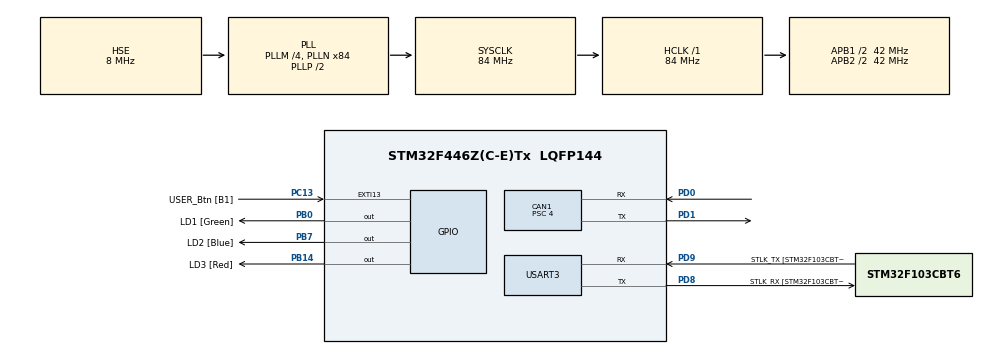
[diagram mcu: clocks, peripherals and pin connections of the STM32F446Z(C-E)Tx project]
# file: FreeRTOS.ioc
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CAN1.BS1=CAN_BS1_13TQ
CAN1.BS2=CAN_BS2_2TQ
CAN1.CalculateBaudRate=656250
CAN1.CalculateTimeBit=1523
CAN1.CalculateTimeQuantum=95.23809523809524
CAN1.NART=ENABLE
CAN1.Prescaler=4
FREERTOS.INCLUDE_pcTaskGetTaskName=1
FREERTOS.Tasks01=app0,48,128,StartApp0,Default,NULL,Dynamic,NULL,NULL;app1,9,128,StartApp1,Default,NULL,Dynamic,NULL,NULL;app2,8,128,StartApp2,Default,NULL,Dynamic,NULL,NULL
FREERTOS.configUSE_NEWLIB_REENTRANT=1
Mcu.Family=STM32F4
Mcu.Name=STM32F446Z(C-E)Tx
Mcu.Package=LQFP144
NVIC.CAN1_RX0_IRQn=true\:5\:0\:false\:false\:true\:true\:true\:true\:true
NVIC.EXTI15_10_IRQn=true\:5\:0\:false\:false\:true\:true\:true\:true\:true
NVIC.PriorityGroup=NVIC_PRIORITYGROUP_4
NVIC.TIM6_DAC_IRQn=true\:15\:0\:false\:false\:true\:false\:false\:true\:true
NVIC.TimeBase=TIM6_DAC_IRQn
NVIC.TimeBaseIP=TIM6
PB0.GPIO_Label=LD1 [Green]
PB0.Signal=GPIO_Output
PB14.GPIO_Label=LD3 [Red]
PB14.Signal=GPIO_Output
PB7.GPIO_Label=LD2 [Blue]
PB7.Signal=GPIO_Output
PC13.GPIO_Label=USER_Btn [B1]
PC13.Signal=GPXTI13
PC14-OSC32_IN.Mode=LSE-External-Oscillator
PC14-OSC32_IN.Signal=RCC_OSC32_IN
PC15-OSC32_OUT.Mode=LSE-External-Oscillator
PC15-OSC32_OUT.Signal=RCC_OSC32_OUT
PD0.Mode=CAN_Activate
PD0.Signal=CAN1_RX
PD1.Mode=CAN_Activate
PD1.Signal=CAN1_TX
PD8.GPIO_Label=STLK_RX [STM32F103CBT6_PA3]
PD8.Mode=Asynchronous
PD8.Signal=USART3_TX
PD9.GPIO_Label=STLK_TX [STM32F103CBT6_PA2]
PD9.Mode=Asynchronous
PD9.Signal=USART3_RX
PH0-OSC_IN.GPIO_Label=MCO [STM32F103CBT6_PA8]
PH0-OSC_IN.Mode=HSE-External-Clock-Source
PH0-OSC_IN.Signal=RCC_OSC_IN
PH1-OSC_OUT.Mode=HSE-External-Clock-Source
PH1-OSC_OUT.Signal=RCC_OSC_OUT
ProjectManager.HeapSize=0x200
ProjectManager.StackSize=0x400
ProjectManager.TargetToolchain=STM32CubeIDE
RCC.48MHZClocksFreq_Value=24000000
RCC.AHBFreq_Value=84000000
RCC.APB1CLKDivider=RCC_HCLK_DIV2
RCC.APB1Freq_Value=42000000
RCC.APB1TimFreq_Value=84000000
RCC.APB2CLKDivider=RCC_HCLK_DIV2
RCC.APB2Freq_Value=42000000
RCC.APB2TimFreq_Value=84000000
RCC.CortexFreq_Value=84000000
RCC.HCLKFreq_Value=84000000
RCC.HSE_VALUE=8000000
RCC.HSI_VALUE=16000000
RCC.PLLM=4
RCC.PLLMUL=RCC_PLL_MUL9
RCC.PLLN=84
RCC.PLLQ=7
RCC.PLLSourceVirtual=RCC_PLLSOURCE_HSE
RCC.PRESCALERUSB=RCC_USBCLKSOURCE_PLL_DIV1_5
RCC.SYSCLKFreq_VALUE=84000000
RCC.SYSCLKSource=RCC_SYSCLKSOURCE_PLLCLK
RCC.SYSCLKSourceVirtual=RCC_SYSCLKSOURCE_PLLCLK
RCC.USBFreq_Value=24000000
RCC.VCOOutputFreq_Value=168000000
USART3.VirtualMode=VM_ASYNC
VP_FREERTOS_VS_CMSIS_V2.Mode=CMSIS_V2
VP_SYS_VS_tim6.Mode=TIM6
board=NUCLEO-F446ZE

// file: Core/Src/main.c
/* USER CODE BEGIN Header */
/**
  ******************************************************************************
  * @file           : main.c
  * @brief          : Main program body
  ******************************************************************************
  * @attention
  *
  * Copyright (c) 2024 STMicroelectronics.
  * All rights reserved.
  *
  * This software is licensed under terms that can be found in the LICENSE file
  * in the root directory of this software component.
  * If no LICENSE file comes with this software, it is provided AS-IS.
  *
  ******************************************************************************
  */
/* USER CODE END Header */
#include "main.h"
#include "cmsis_os.h"

/* USER CODE BEGIN Includes */
#include <stdio.h>
#include "F446ZE_FLASH_Sector_Addresses.h"
#include <stdbool.h>
/* USER CODE END Includes */

/* USER CODE BEGIN PD */

#define MAJOR 0
#define MINOR 0

/* Before transmitting, make sure that there is an 'update' available in the sector defined below.
 * This update will then be sent from one F446 board to another through the CAN bus.
 * One board simulates the telemetry module (= responsible from communication with the ground station) on a CubeSat,
 * the other board simulates the on-board computer (OBC) of the CubeSat. */

#define FLASH_USER_START_ADDR_RX   ADDR_FLASH_SECTOR_6_START		/* Start @ of user Flash area */
#define FLASH_USER_END_ADDR_RX     ADDR_FLASH_SECTOR_6_END 			/* End @ of user Flash area */

#define INITIALIZATION_FLAG_ADDRESS	0x0805FFFC
#define STARTING_FLAG_VALUE			0XFFFFFFFF
#define INITIALIZATION_FLAG_VALUE 	0xBBBBBBBB
/* USER CODE END PD */

CAN_HandleTypeDef hcan1;

UART_HandleTypeDef huart3;

/* Definitions for app0 */
osThreadId_t app0Handle;
const osThreadAttr_t app0_attributes = {
  .name = "app0",
  .stack_size = 128 * 4,
  .priority = (osPriority_t) osPriorityRealtime,
};
/* Definitions for app1 */
osThreadId_t app1Handle;
const osThreadAttr_t app1_attributes = {
  .name = "app1",
  .stack_size = 128 * 4,
  .priority = (osPriority_t) osPriorityLow1,
};
/* Definitions for app2 */
osThreadId_t app2Handle;
const osThreadAttr_t app2_attributes = {
  .name = "app2",
  .stack_size = 128 * 4,
  .priority = (osPriority_t) osPriorityLow,
};
/* USER CODE BEGIN PV */

const uint8_t			APP_Version[2]={MAJOR, MINOR};

// CAN variables
CAN_RxHeaderTypeDef   	RxHeader;
CAN_TxHeaderTypeDef   	TxHeader;
uint8_t               	TxData[8];
uint8_t               	RxData[8];
uint32_t              	TxMailbox;
QueueHandle_t canRxQueue;

// Board status variables
enum board_status 	  	{NO_UPDATE_AVAILABLE, SENDING_UPDATE, RECEIVING_UPDATE, UPDATE_FINISHED};
enum board_status 	  	board_status = NO_UPDATE_AVAILABLE;

// Flash Operation variables
uint32_t FirstSector = 0, NbOfSectors = 0;
uint32_t Address = FLASH_USER_START_ADDR_RX, SECTORError = 0;
uint8_t TxBuffer;

/*Variable used for Flash Erase procedure*/
static FLASH_EraseInitTypeDef EraseInitStruct;

bool flashUpdateDone = false;
bool flashErased = false;  // Add this line to declare the flashErased variable
bool updateComplete = false;
bool taskCreated = false;
bool flag1 = false;

/* USER CODE END PV */

void SystemClock_Config(void);
static void MX_GPIO_Init(void);
static void MX_USART3_UART_Init(void);
static void MX_CAN1_Init(void);
void StartApp0(void *argument);
void StartApp1(void *argument);
void StartApp2(void *argument);

/* USER CODE BEGIN PFP */
void CANRxTask(void *argument);
void SystemReset(void);
void StopAllThreads(void);
void RebootToApplication(void);

/* Function prototypes for Flash Operations */
uint32_t GetSector(uint32_t Address);
uint32_t GetSectorSize(uint32_t Sector);
uint32_t Read_Message_and_Write_in_FLASH(uint32_t StartSectorAddress, uint32_t EndSectorAddress, uint8_t *data, uint8_t length);
static void writeInitFlag(uint32_t initFlag);
static uint32_t GetFilterMatchingIndex(CAN_RxHeaderTypeDef *RxHeader);
static uint32_t SetFlashSectorForWritingUpdate(uint32_t FilterMatchIndex);
/* USER CODE END PFP */

int main(void)
{

  /* MCU Configuration--------------------------------------------------------*/

  /* Reset of all peripherals, Initializes the Flash interface and the Systick. */
  HAL_Init();

  /* Configure the system clock */
  SystemClock_Config();

  /* Initialize all configured peripherals */
  MX_GPIO_Init();
  MX_USART3_UART_Init();
  MX_CAN1_Init();
  /* USER CODE BEGIN 2 */

  /* Start the CAN and enable interrupts*/
 HAL_CAN_Start(&hcan1);

  /* USER CODE END 2 */

  /* Init scheduler */
  osKernelInitialize();

  /* USER CODE BEGIN RTOS_QUEUES */
  /* add queues, ... */

  /* Create a queue capable of holding 10 CAN messages */
  canRxQueue = xQueueCreate(10, sizeof(CAN_RxHeaderTypeDef) + sizeof(uint8_t[8]));
  if (canRxQueue == NULL)
  {
      // Handle error: Queue not created
      Error_Handler();
  }

  /* USER CODE END RTOS_QUEUES */

  /* Create the thread(s) */
  /* creation of app0 */
  app0Handle = osThreadNew(StartApp0, NULL, &app0_attributes);

  /* creation of app1 */
  app1Handle = osThreadNew(StartApp1, NULL, &app1_attributes);

  /* creation of app2 */
  app2Handle = osThreadNew(StartApp2, NULL, &app2_attributes);

  /* USER CODE BEGIN RTOS_THREADS */
  /* add threads, ... */

  //thread for handling CAN messages

  if (xTaskCreate(CANRxTask, "CANRxTask", 256, NULL, osPriorityNormal, NULL) != pdPASS)
  {
      // Handle error: Task not created
      Error_Handler();
  }

  /* USER CODE END RTOS_THREADS */

  /* Start scheduler */
  osKernelStart();

  /* We should never get here as control is now taken by the scheduler */

  /* Infinite loop */
  while (1)
  {

  }
}

void SystemClock_Config(void)
{
  RCC_OscInitTypeDef RCC_OscInitStruct = {0};
  RCC_ClkInitTypeDef RCC_ClkInitStruct = {0};

  /** Configure the main internal regulator output voltage
  */
  __HAL_RCC_PWR_CLK_ENABLE();
  __HAL_PWR_VOLTAGESCALING_CONFIG(PWR_REGULATOR_VOLTAGE_SCALE3);

  /** Initializes the RCC Oscillators according to the specified parameters
  * in the RCC_OscInitTypeDef structure.
  */
  RCC_OscInitStruct.OscillatorType = RCC_OSCILLATORTYPE_HSE;
  RCC_OscInitStruct.HSEState = RCC_HSE_BYPASS;
  RCC_OscInitStruct.PLL.PLLState = RCC_PLL_ON;
  RCC_OscInitStruct.PLL.PLLSource = RCC_PLLSOURCE_HSE;
  RCC_OscInitStruct.PLL.PLLM = 4;
  RCC_OscInitStruct.PLL.PLLN = 84;
  RCC_OscInitStruct.PLL.PLLP = RCC_PLLP_DIV2;
  RCC_OscInitStruct.PLL.PLLQ = 7;
  RCC_OscInitStruct.PLL.PLLR = 2;
  if (HAL_RCC_OscConfig(&RCC_OscInitStruct) != HAL_OK)
  {
    Error_Handler();
  }

  /** Initializes the CPU, AHB and APB buses clocks
  */
  RCC_ClkInitStruct.ClockType = RCC_CLOCKTYPE_HCLK|RCC_CLOCKTYPE_SYSCLK
                              |RCC_CLOCKTYPE_PCLK1|RCC_CLOCKTYPE_PCLK2;
  RCC_ClkInitStruct.SYSCLKSource = RCC_SYSCLKSOURCE_PLLCLK;
  RCC_ClkInitStruct.AHBCLKDivider = RCC_SYSCLK_DIV1;
  RCC_ClkInitStruct.APB1CLKDivider = RCC_HCLK_DIV2;
  RCC_ClkInitStruct.APB2CLKDivider = RCC_HCLK_DIV2;

  if (HAL_RCC_ClockConfig(&RCC_ClkInitStruct, FLASH_LATENCY_2) != HAL_OK)
  {
    Error_Handler();
  }
}

static void MX_CAN1_Init(void)
{

  /* USER CODE BEGIN CAN1_Init 0 */
  CAN_FilterTypeDef  sFilterConfig0;
  CAN_FilterTypeDef	 sFilterConfig1;
  CAN_FilterTypeDef	 sFilterConfig2;
  /* USER CODE END CAN1_Init 0 */

  hcan1.Instance = CAN1;
  hcan1.Init.Prescaler = 4;
  hcan1.Init.Mode = CAN_MODE_NORMAL;
  hcan1.Init.SyncJumpWidth = CAN_SJW_1TQ;
  hcan1.Init.TimeSeg1 = CAN_BS1_13TQ;
  hcan1.Init.TimeSeg2 = CAN_BS2_2TQ;
  hcan1.Init.TimeTriggeredMode = DISABLE;
  hcan1.Init.AutoBusOff = DISABLE;
  hcan1.Init.AutoWakeUp = DISABLE;
  hcan1.Init.AutoRetransmission = ENABLE;
  hcan1.Init.ReceiveFifoLocked = DISABLE;
  hcan1.Init.TransmitFifoPriority = DISABLE;
  if (HAL_CAN_Init(&hcan1) != HAL_OK)
  {
    Error_Handler();
  }
  /* USER CODE BEGIN CAN1_Init 2 */

  sFilterConfig0.FilterBank = 0;
  sFilterConfig0.FilterMode = CAN_FILTERMODE_IDMASK;
  sFilterConfig0.FilterScale = CAN_FILTERSCALE_32BIT;
  sFilterConfig0.FilterIdHigh = 0x0000;
  sFilterConfig0.FilterIdLow = 0x0000;
  sFilterConfig0.FilterMaskIdHigh = 0x0000;
  sFilterConfig0.FilterMaskIdLow = 0x0000;
  sFilterConfig0.FilterFIFOAssignment = CAN_RX_FIFO0;
  sFilterConfig0.FilterActivation = ENABLE;
  sFilterConfig0.SlaveStartFilterBank = 14;

  if (HAL_CAN_ConfigFilter(&hcan1, &sFilterConfig0) != HAL_OK) {
	/* Filter configuration Error */
	Error_Handler();
  }

  sFilterConfig1.FilterBank = 1;
  sFilterConfig1.FilterMode = CAN_FILTERMODE_IDLIST;
  sFilterConfig1.FilterScale = CAN_FILTERSCALE_32BIT;
  sFilterConfig1.FilterIdHigh = 0x0020;
  sFilterConfig1.FilterIdLow = 0x0000;
  sFilterConfig1.FilterMaskIdHigh = 0x0000;
  sFilterConfig1.FilterMaskIdLow = 0x0000;
  sFilterConfig1.FilterFIFOAssignment = CAN_RX_FIFO0;
  sFilterConfig1.FilterActivation = ENABLE;
  sFilterConfig1.SlaveStartFilterBank = 14;

  if (HAL_CAN_ConfigFilter(&hcan1, &sFilterConfig1) != HAL_OK) {
	/* Filter configuration Error */
	Error_Handler();
  }

  sFilterConfig2.FilterBank = 2;
  sFilterConfig2.FilterMode = CAN_FILTERMODE_IDLIST;
  sFilterConfig2.FilterScale = CAN_FILTERSCALE_32BIT;
  sFilterConfig2.FilterIdHigh = 0x0040;
  sFilterConfig2.FilterIdLow = 0x0000;
  sFilterConfig2.FilterMaskIdHigh = 0x0000;
  sFilterConfig2.FilterMaskIdLow = 0x0000;
  sFilterConfig2.FilterFIFOAssignment = CAN_RX_FIFO0;
  sFilterConfig2.FilterActivation = ENABLE;
  sFilterConfig2.SlaveStartFilterBank = 14;

  if (HAL_CAN_ConfigFilter(&hcan1, &sFilterConfig2) != HAL_OK) {
	/* Filter configuration Error */
	Error_Handler();
  }

  if (HAL_CAN_Start(&hcan1) != HAL_OK)
  {
    /* Start Error */
    Error_Handler();
  }

  if (HAL_CAN_ActivateNotification(&hcan1, CAN_IT_RX_FIFO0_MSG_PENDING) != HAL_OK)
    {
    /* Notification Error */
      Error_Handler();
    }

  /* USER CODE END CAN1_Init 2 */

}

static void MX_USART3_UART_Init(void)
{

  huart3.Instance = USART3;
  huart3.Init.BaudRate = 115200;
  huart3.Init.WordLength = UART_WORDLENGTH_8B;
  huart3.Init.StopBits = UART_STOPBITS_1;
  huart3.Init.Parity = UART_PARITY_NONE;
  huart3.Init.Mode = UART_MODE_TX_RX;
  huart3.Init.HwFlowCtl = UART_HWCONTROL_NONE;
  huart3.Init.OverSampling = UART_OVERSAMPLING_16;
  if (HAL_UART_Init(&huart3) != HAL_OK)
  {
    Error_Handler();
  }

}

static void MX_GPIO_Init(void)
{
  GPIO_InitTypeDef GPIO_InitStruct = {0};

  /* GPIO Ports Clock Enable */
  __HAL_RCC_GPIOC_CLK_ENABLE();
  __HAL_RCC_GPIOH_CLK_ENABLE();
  __HAL_RCC_GPIOB_CLK_ENABLE();
  __HAL_RCC_GPIOD_CLK_ENABLE();

  /*Configure GPIO pin Output Level */
  HAL_GPIO_WritePin(GPIOB, LD1_Pin|LD3_Pin|LD2_Pin, GPIO_PIN_RESET);

  /*Configure GPIO pin : USER_Btn_Pin */
  GPIO_InitStruct.Pin = USER_Btn_Pin;
  GPIO_InitStruct.Mode = GPIO_MODE_IT_RISING;
  GPIO_InitStruct.Pull = GPIO_NOPULL;
  HAL_GPIO_Init(USER_Btn_GPIO_Port, &GPIO_InitStruct);

  /*Configure GPIO pins : LD1_Pin LD3_Pin LD2_Pin */
  GPIO_InitStruct.Pin = LD1_Pin|LD3_Pin|LD2_Pin;
  GPIO_InitStruct.Mode = GPIO_MODE_OUTPUT_PP;
  GPIO_InitStruct.Pull = GPIO_NOPULL;
  GPIO_InitStruct.Speed = GPIO_SPEED_FREQ_LOW;
  HAL_GPIO_Init(GPIOB, &GPIO_InitStruct);

  /* EXTI interrupt init*/
  HAL_NVIC_SetPriority(EXTI15_10_IRQn, 5, 0);
  HAL_NVIC_EnableIRQ(EXTI15_10_IRQn);

}

/* USER CODE BEGIN 4 */
static void writeInitFlag(uint32_t initFlag){
	HAL_FLASH_Unlock();

    if (HAL_FLASH_Program(TYPEPROGRAM_WORD, INITIALIZATION_FLAG_ADDRESS, initFlag) != HAL_OK) {
        // Error handling
    	printf("Flag program error. \r\n");
    }
    HAL_FLASH_Lock();
}

static uint32_t GetFilterMatchingIndex(CAN_RxHeaderTypeDef *RxHeader)
{
	//printf("fmi: %lu \r\n", RxHeader->FilterMatchIndex);
	if (RxHeader->FilterMatchIndex == 3){
		printf("Filter Match Index: 3 \r\n");
		printf("Incoming update. \r\n");
	}

	else {
		printf("No Filter Match. Message Rejected. \r\n");
	}

	return RxHeader->FilterMatchIndex;
}

static uint32_t SetFlashSectorForWritingUpdate(uint32_t FilterMatchIndex){
	if (FilterMatchIndex == 3){
		Address = FLASH_USER_START_ADDR_RX;
	}
	else {
		printf("No Filter Match. \r\n");
	}
	return Address;
}

/**
  * @brief  Gets the sector of a given address
  * @param  None
  * @retval The sector of a given address
  */
uint32_t GetSector(uint32_t Address)
{
  uint32_t sector = 0;

  if((Address < ADDR_FLASH_SECTOR_1_START) && (Address >= ADDR_FLASH_SECTOR_0_START))
  {
    sector = FLASH_SECTOR_0;
  }
  else if((Address < ADDR_FLASH_SECTOR_2_START) && (Address >= ADDR_FLASH_SECTOR_1_START))
  {
    sector = FLASH_SECTOR_1;
  }
  else if((Address < ADDR_FLASH_SECTOR_3_START) && (Address >= ADDR_FLASH_SECTOR_2_START))
  {
    sector = FLASH_SECTOR_2;
  }
  else if((Address < ADDR_FLASH_SECTOR_4_START) && (Address >= ADDR_FLASH_SECTOR_3_START))
  {
    sector = FLASH_SECTOR_3;
  }
  else if((Address < ADDR_FLASH_SECTOR_5_START) && (Address >= ADDR_FLASH_SECTOR_4_START))
  {
    sector = FLASH_SECTOR_4;
  }
  else if((Address < ADDR_FLASH_SECTOR_6_START) && (Address >= ADDR_FLASH_SECTOR_5_START))
  {
    sector = FLASH_SECTOR_5;
  }
  else if((Address < ADDR_FLASH_SECTOR_7_START) && (Address >= ADDR_FLASH_SECTOR_6_START))
  {
    sector = FLASH_SECTOR_6;
  }
  else /* (Address < FLASH_END_ADDR) && (Address >= ADDR_FLASH_SECTOR_7) */
  {
    sector = FLASH_SECTOR_7;
  }
  return sector;
}

/**
  * @brief  Gets sector Size
  * @param  None
  * @retval The size of a given sector
  */
uint32_t GetSectorSize(uint32_t Sector)
{
  uint32_t sectorsize = 0x00;
  if((Sector == FLASH_SECTOR_0) || (Sector == FLASH_SECTOR_1) || (Sector == FLASH_SECTOR_2) || (Sector == FLASH_SECTOR_3))
  {
    sectorsize = 16 * 1024;
  }
  else if(Sector == FLASH_SECTOR_4)
  {
    sectorsize = 64 * 1024;
  }
  else
  {
    sectorsize = 128 * 1024;
  }
  return sectorsize;
}

void HAL_CAN_RxFifo0MsgPendingCallback(CAN_HandleTypeDef *hcan)
{
    BaseType_t xHigherPriorityTaskWoken = pdFALSE;
    uint8_t buffer[sizeof(CAN_RxHeaderTypeDef) + sizeof(uint8_t[8])];
    CAN_RxHeaderTypeDef *pRxHeader = (CAN_RxHeaderTypeDef *)buffer;
    uint8_t *pRxData = buffer + sizeof(CAN_RxHeaderTypeDef);

    // Get the message
    if (HAL_CAN_GetRxMessage(hcan, CAN_RX_FIFO0, pRxHeader, pRxData) == HAL_OK)
    {
    	/* If the message holds the ID, we will reserve a flash sector for the coming update.
    	 * After that, we will respond to the transmitter to confirm it can start sending the actual data.*/
    	if ((pRxHeader->DLC == 1) && pRxData[0] == 0b00000000){
        	uint32_t fmi = GetFilterMatchingIndex(pRxHeader);
        	//printf("fmi: %lu \r\n", fmi);
        	Address = SetFlashSectorForWritingUpdate(fmi);
        	//printf("Start Address: %lX \r\n", Start_Address);

        	/* Prepare the response and send it. */
        	TxHeader.DLC = 1;
        	TxData[0] = 0b11111111;
        	HAL_CAN_AddTxMessage(&hcan1, &TxHeader, TxData, &TxMailbox);
        	printf("response sent \r\n");
    	}
        // If the message contains actual data, we send it to the queue.
    	else {
            xQueueSendFromISR(canRxQueue, buffer, &xHigherPriorityTaskWoken);
    	}
    }

    // Perform a context switch if required
    portYIELD_FROM_ISR(xHigherPriorityTaskWoken);
}

/* Enabling a print function for Putty. */
#ifdef __GNUC__
 /* With GCC, small printf (option LD Linker->Libraries->Small printf set to 'Yes') calls __io_putchar() */
int __io_putchar(int ch)
#else
int fputc(int ch, FILE *f)
#endif /* __GNUC__ */
{
	HAL_UART_Transmit(&huart3, (uint8_t *)&ch, 1, HAL_MAX_DELAY);
	return ch;
}

uint32_t Read_Message_and_Write_in_FLASH(uint32_t Address, uint32_t EndSectorAddress, uint8_t *data, uint8_t length)
{
    //printf("Entering Read_Message_and_Write_in_FLASH\r\n");
    HAL_FLASH_Unlock();
    //printf("Flash unlocked\r\n");
    board_status = RECEIVING_UPDATE;

    for (uint8_t i = 0; i < length; i++)
    {
        if (Address > EndSectorAddress)
        {
            // Handle error: Flash address out of range
            printf("Flash address out of range\r\n");
            break;
        }

        HAL_StatusTypeDef flash_status = HAL_FLASH_Program(FLASH_TYPEPROGRAM_BYTE, Address, data[i]);
        if (flash_status == HAL_OK)
        {
            //printf("Flash write successful: %02X at address %lu\r\n", data[i], Address);
            Address++;
        }
        else
        {
            printf("Flash write failed: status=%d\r\n", flash_status);
            HAL_FLASH_Lock();
            Error_Handler();
        }
    }

    printf("Address: %lX\r\n", Address);
    HAL_FLASH_Lock();
    //printf("Flash locked\r\n");

    //printf("Exiting Read_Message_and_Write_in_FLASH\r\n");
    return Address;
}

//Task that handles RX

// Updated CANRxTask
void CANRxTask(void *argument)
{
    uint8_t buffer[sizeof(CAN_RxHeaderTypeDef) + sizeof(uint8_t[8])];
    CAN_RxHeaderTypeDef *pRxHeader = (CAN_RxHeaderTypeDef *)buffer;
    uint8_t *pRxData = buffer + sizeof(CAN_RxHeaderTypeDef);

    while (1)
    {
        // Wait for data to be available in the queue
        if (xQueueReceive(canRxQueue, buffer, portMAX_DELAY) == pdPASS)
        {

            // Erase the sector only once before writing the data
            if (!flashErased)
            {
            	writeInitFlag(INITIALIZATION_FLAG_VALUE);

                /* Get the 1st sector to erase */
                FirstSector = GetSector(Address);
                /* Get the number of sectors to erase */
                NbOfSectors = 1; // Assuming only one sector needs to be erased
                /* Fill EraseInit structure */
                EraseInitStruct.TypeErase     = FLASH_TYPEERASE_SECTORS;
                EraseInitStruct.VoltageRange  = FLASH_VOLTAGE_RANGE_3;
                EraseInitStruct.Sector        = FirstSector;
                EraseInitStruct.NbSectors     = NbOfSectors;

                if (HAL_FLASHEx_Erase(&EraseInitStruct, &SECTORError) != HAL_OK)
                {
                    printf("Error erasing flash sector\r\n");
                    HAL_FLASH_Lock();
                }
                else
                {
                    printf("Flash sector erased successfully\r\n");
                    flashErased = true;
                }
            }

            // Call the function to write to FLASH and update the address
            Address = Read_Message_and_Write_in_FLASH(Address, FLASH_USER_END_ADDR_RX, pRxData, pRxHeader->DLC);

            // Set the update complete flag when the last chunk is received and written
            if (Address >= FLASH_USER_END_ADDR_RX)
            {
                updateComplete = true;

            }
        }

        // Check if update is complete and reset the system
        if (updateComplete)
        {
        	printf("Update completed \r\n");
            SystemReset();
        }
    }
}

// Function to trigger a system reset
void SystemReset(void)
{
    printf("System resetting...\r\n");
    HAL_NVIC_SystemReset();
}

void StopAllThreads(void)
{
    vTaskSuspend(app1Handle);
    vTaskSuspend(app2Handle);
    // Add suspensions for any other threads if necessary
}

/* USER CODE END 4 */

void StartApp0(void *argument)
{
  /* USER CODE BEGIN 5 */
  /* Infinite loop */
  for(;;)
  {
	  osDelay(100);
	  if (board_status == NO_UPDATE_AVAILABLE){
		  HAL_GPIO_WritePin(GPIOB, LD2_Pin | LD1_Pin, GPIO_PIN_RESET);
		  HAL_GPIO_TogglePin(GPIOB, LD3_Pin);
		  osDelay(1000);
	  }
	  else if (board_status == RECEIVING_UPDATE){
		  HAL_GPIO_WritePin(GPIOB, LD3_Pin | LD1_Pin, GPIO_PIN_RESET);
		  HAL_GPIO_TogglePin(GPIOB, LD2_Pin);
		  osDelay(100);
	  }
	  else if (board_status == UPDATE_FINISHED){
		  HAL_GPIO_WritePin(GPIOB, LD2_Pin | LD3_Pin, GPIO_PIN_RESET);
		  HAL_GPIO_TogglePin(GPIOB, LD1_Pin);
		  osDelay(1000);
	  }
	  osDelay(1);
  }
  /* USER CODE END 5 */
}

void StartApp1(void *argument)
{
  /* USER CODE BEGIN StartApp1 */
  /* Infinite loop */
  for(;;)
  {
	  if(!flag1)
	  {
		  //writeInitFlag(STARTING_FLAG_VALUE);
		  flag1=true;
	  }

	  application1();
	  osDelay(1000);
  }
  /* USER CODE END StartApp1 */
}

void StartApp2(void *argument)
{
  /* USER CODE BEGIN StartApp2 */
  /* Infinite loop */
  for(;;)
  {
	  application2();
	  osDelay(1000);
  }
  /* USER CODE END StartApp2 */
}

void HAL_TIM_PeriodElapsedCallback(TIM_HandleTypeDef *htim)
{
  if (htim->Instance == TIM6) {
    HAL_IncTick();
  }
}

void Error_Handler(void)
{
  __disable_irq();
  while (1)
  {
  }
}
